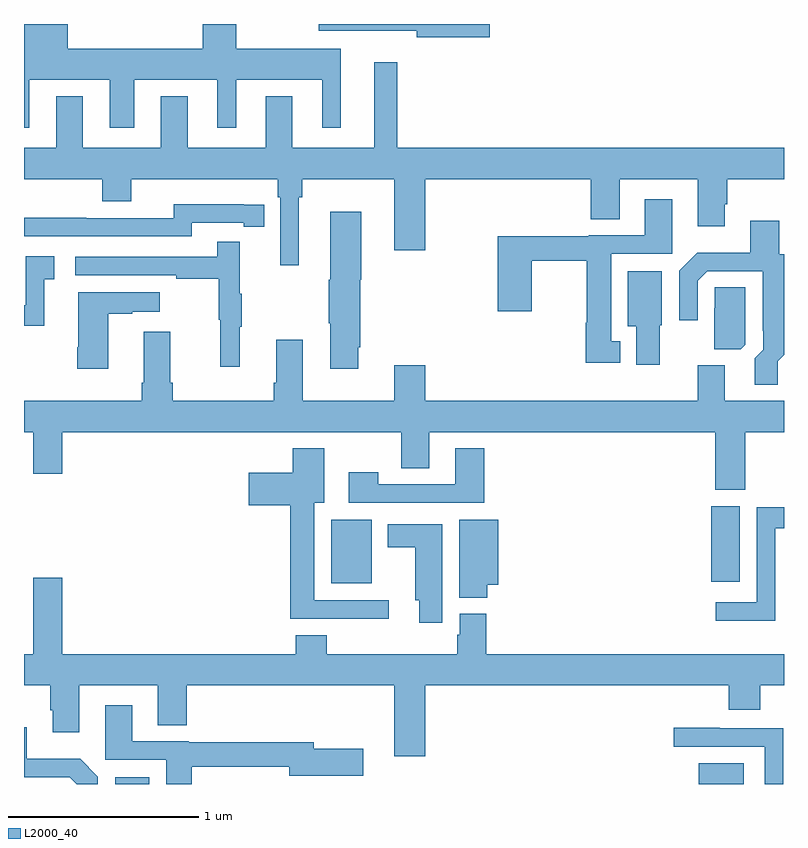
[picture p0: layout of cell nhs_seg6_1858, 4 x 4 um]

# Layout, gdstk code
import gdstk
lib = gdstk.Library(unit=1e-6, precision=1e-09)
def R(c, l, rs):  # rectangles x0, y0, x1, y1
    for r in rs: c.add(gdstk.rectangle(r[:2], r[2:], *l))
def P(c, l, *ps):  # polygons
    for p in ps: c.add(gdstk.Polygon(p, *l))
L2000_40 = (2000, 40)

nhs_seg6_1858 = lib.new_cell('nhs_seg6_1858')
R(nhs_seg6_1858, L2000_40, [(223.481,929.5,223.66,929.536), (226.55,929.5,226.789,929.608), (224.618,930.557,224.83,930.892), (226.616,930.564,226.768,930.963)])
P(nhs_seg6_1858, L2000_40, [(225.451,933.5),(224.55,933.5),(224.55,933.464),(225.066,933.464),(225.066,933.431),(225.451,933.431)],
  [(223.027,933.206),(223.451,933.206),(223.451,932.955),(223.579,932.955),(223.579,933.206),(224.018,933.206),(224.018,932.955),(224.116,932.955),(224.116,933.206),(224.57,933.206),(224.57,932.955),(224.668,932.955),(224.668,933.37),(224.118,933.37),(224.118,933.5),(223.94,933.5),(223.94,933.37),(223.231,933.37),(223.231,933.5),(223,933.5),(223,932.955),(223.027,932.955)],
  [(224.446,932.588),(224.465,932.588),(224.465,932.684),(224.948,932.684),(224.948,932.31),(225.112,932.31),(225.112,932.684),(225.983,932.684),(225.983,932.473),(226.135,932.473),(226.135,932.684),(226.547,932.684),(226.547,932.436),(226.687,932.436),(226.687,932.551),(226.7,932.551),(226.7,932.684),(227,932.684),(227,932.848),(224.965,932.848),(224.965,933.298),(224.843,933.298),(224.843,932.848),(224.413,932.848),(224.413,933.121),(224.273,933.121),(224.273,932.848),(223.861,932.848),(223.861,933.121),(223.721,933.121),(223.721,932.848),(223.309,932.848),(223.309,933.121),(223.169,933.121),(223.169,932.848),(223,932.848),(223,932.684),(223.412,932.684),(223.412,932.567),(223.564,932.567),(223.564,932.684),(224.336,932.684),(224.336,932.588),(224.349,932.588),(224.349,932.229),(224.446,932.229)],
  [(226.138,931.829),(226.09,931.829),(226.09,932.292),(226.411,932.292),(226.411,932.578),(226.268,932.578),(226.268,932.388),(225.972,932.388),(225.972,932.383),(225.494,932.383),(225.494,931.989),(225.672,931.989),(225.672,932.254),(225.961,932.254),(225.961,931.928),(225.956,931.928),(225.956,931.716),(226.138,931.716)],
  [(223.884,932.454),(224.156,932.454),(224.156,932.434),(224.264,932.434),(224.264,932.55),(224.156,932.55),(224.156,932.551),(223.788,932.551),(223.788,932.478),(223.328,932.478),(223.328,932.48),(223,932.48),(223,932.382),(223.884,932.382)],
  [(224.758,931.798),(224.771,931.798),(224.771,932.154),(224.776,932.154),(224.776,932.512),(224.612,932.512),(224.612,932.154),(224.605,932.154),(224.605,931.924),(224.612,931.924),(224.612,931.686),(224.758,931.686)],
  [(226.967,931.725),(227,931.758),(227,932.289),(226.976,932.289),(226.976,932.464),(226.823,932.464),(226.823,932.296),(226.543,932.296),(226.449,932.202),(226.449,931.941),(226.545,931.941),(226.545,932.148),(226.596,932.199),(226.887,932.199),(226.887,931.885),(226.89,931.885),(226.89,931.785),(226.847,931.742),(226.847,931.602),(226.967,931.602)],
  [(224.135,931.907),(224.146,931.907),(224.146,932.081),(224.135,932.081),(224.135,932.353),(224.017,932.353),(224.017,932.274),(223.269,932.274),(223.269,932.178),(223.801,932.178),(223.801,932.158),(224.025,932.158),(224.025,931.944),(224.032,931.944),(224.032,931.695),(224.135,931.695)],
  [(223.106,932.157),(223.159,932.157),(223.159,932.278),(223.008,932.278),(223.008,932.019),(223,932.019),(223,931.911),(223.106,931.911)],
  [(226.345,931.914),(226.357,931.914),(226.357,932.2),(226.178,932.2),(226.178,931.91),(226.223,931.91),(226.223,931.707),(226.345,931.707)],
  [(226.797,931.812),(226.797,932.114),(226.635,932.114),(226.635,932.003),(226.634,932.003),(226.634,931.789),(226.773,931.789)],
  [(223.444,931.975),(223.571,931.975),(223.571,931.985),(223.714,931.985),(223.714,932.089),(223.286,932.089),(223.286,931.798),(223.279,931.798),(223.279,931.686),(223.444,931.686)],
  [(226.797,931.352),(227,931.352),(227,931.516),(226.687,931.516),(226.687,931.704),(226.547,931.704),(226.547,931.516),(225.112,931.516),(225.112,931.705),(224.948,931.705),(224.948,931.516),(224.467,931.516),(224.467,931.837),(224.327,931.837),(224.327,931.612),(224.315,931.612),(224.315,931.516),(223.784,931.516),(223.784,931.612),(223.771,931.612),(223.771,931.879),(223.631,931.879),(223.631,931.612),(223.619,931.612),(223.619,931.516),(223,931.516),(223,931.352),(223.049,931.352),(223.049,931.134),(223.202,931.134),(223.202,931.352),(224.986,931.352),(224.986,931.162),(225.133,931.162),(225.133,931.352),(226.637,931.352),(226.637,931.048),(226.797,931.048)],
  [(225.422,931.267),(225.269,931.267),(225.269,931.077),(224.865,931.077),(224.865,931.141),(224.709,931.141),(224.709,930.981),(225.422,930.981)],
  [(224.92,930.468),(224.527,930.468),(224.527,930.98),(224.581,930.98),(224.581,931.267),(224.414,931.267),(224.414,931.138),(224.184,931.138),(224.184,930.968),(224.402,930.968),(224.402,930.371),(224.92,930.371)],
  [(226.953,930.845),(227,930.845),(227,930.956),(226.857,930.956),(226.857,930.456),(226.641,930.456),(226.641,930.359),(226.953,930.359)],
  [(225.437,930.548),(225.496,930.548),(225.496,930.892),(225.29,930.892),(225.29,930.481),(225.437,930.481)],
  [(225.202,930.868),(224.915,930.868),(224.915,930.746),(225.059,930.746),(225.059,930.468),(225.08,930.468),(225.08,930.348),(225.202,930.348)],
  [(226.709,929.892),(226.874,929.892),(226.874,930.02),(227,930.02),(227,930.184),(225.434,930.184),(225.434,930.396),(225.293,930.396),(225.293,930.285),(225.281,930.285),(225.281,930.184),(224.594,930.184),(224.594,930.283),(224.429,930.283),(224.429,930.184),(223.202,930.184),(223.202,930.586),(223.049,930.586),(223.049,930.184),(223,930.184),(223,930.02),(223.139,930.02),(223.139,929.887),(223.151,929.887),(223.151,929.772),(223.291,929.772),(223.291,930.02),(223.703,930.02),(223.703,929.809),(223.856,929.809),(223.856,930.02),(224.948,930.02),(224.948,929.646),(225.112,929.646),(225.112,930.02),(226.709,930.02)],
  [(223.883,929.59),(224.396,929.59),(224.396,929.543),(224.785,929.543),(224.785,929.685),(224.524,929.685),(224.524,929.719),(223.866,929.719),(223.866,929.724),(223.57,929.724),(223.57,929.914),(223.427,929.914),(223.427,929.628),(223.748,929.628),(223.748,929.5),(223.883,929.5)],
  [(223.389,929.538),(223.295,929.632),(223.015,929.632),(223.015,929.8),(223,929.8),(223,929.535),(223.242,929.535),(223.277,929.5),(223.389,929.5)],
  [(226.995,929.793),(226.663,929.793),(226.663,929.797),(226.419,929.797),(226.419,929.697),(226.899,929.697),(226.899,929.5),(226.995,929.5)])

lib.write_gds('nhs_seg6_1858.gds')
